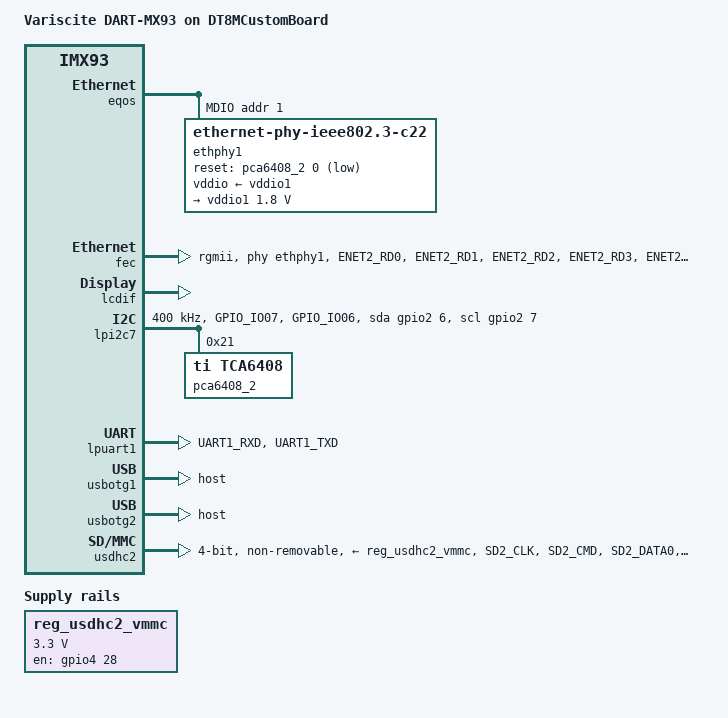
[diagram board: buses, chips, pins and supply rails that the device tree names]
// SPDX-License-Identifier: (GPL-2.0+ OR MIT)
/*
 * Copyright 2021 NXP
 * Copyright 2023-2024 Variscite Ltd.
 */

/dts-v1/;

#include "imx93-var-dart.dtsi"

/{
	model = "Variscite DART-MX93 on DT8MCustomBoard";

	aliases {
		ethernet1 = &fec;
	};

	chosen {
		stdout-path = &lpuart1;
	};

	reg_usdhc2_vmmc: regulator-usdhc2 {
		compatible = "regulator-fixed";
		pinctrl-names = "default";
		pinctrl-0 = <&pinctrl_reg_usdhc2_vmmc>;
		regulator-name = "VSD_3V3";
		regulator-min-microvolt = <3300000>;
		regulator-max-microvolt = <3300000>;
		gpio = <&gpio4 28 GPIO_ACTIVE_HIGH>;
		startup-delay-us = <10000>;
		off-on-delay-us = <12000>;
		enable-active-high;
	};
};

&eqos {
	mdio {
		ethphy1: ethernet-phy@1 {
			compatible = "ethernet-phy-ieee802.3-c22";
			device_type = "ethernet-phy";
			reg = <1>;
			at803x,eee-disabled;
			eee-broken-1000t;
			reset-gpios = <&pca6408_2 0 GPIO_ACTIVE_LOW>;
			reset-assert-us = <10000>;
			reset-deassert-us = <20000>;
			vddio-supply = <&vddio1>;

			vddio1: vddio-regulator {
				regulator-min-microvolt = <1800000>;
				regulator-max-microvolt = <1800000>;
			};
		};
	};
};

&fec {
	pinctrl-names = "default";
	pinctrl-0 = <&pinctrl_fec>;
	phy-mode = "rgmii";
	phy-handle = <&ethphy1>;
	status = "okay";
};

&iomuxc {
	pinctrl_fec: fecgrp {
		fsl,pins = <
			MX93_PAD_ENET2_RD0__ENET1_RGMII_RD0		0x57e
			MX93_PAD_ENET2_RD1__ENET1_RGMII_RD1		0x57e
			MX93_PAD_ENET2_RD2__ENET1_RGMII_RD2		0x57e
			MX93_PAD_ENET2_RD3__ENET1_RGMII_RD3		0x57e
			MX93_PAD_ENET2_RXC__ENET1_RGMII_RXC		0x5fe
			MX93_PAD_ENET2_RX_CTL__ENET1_RGMII_RX_CTL	0x57e
			MX93_PAD_ENET2_TD0__ENET1_RGMII_TD0		0x57e
			MX93_PAD_ENET2_TD1__ENET1_RGMII_TD1		0x57e
			MX93_PAD_ENET2_TD2__ENET1_RGMII_TD2		0x57e
			MX93_PAD_ENET2_TD3__ENET1_RGMII_TD3		0x57e
			MX93_PAD_ENET2_TXC__ENET1_RGMII_TXC		0x5fe
			MX93_PAD_ENET2_TX_CTL__ENET1_RGMII_TX_CTL	0x57e
		>;
	};

	pinctrl_lpi2c7_gpio: lpi2c7grp-gpio {
		fsl,pins = <
			MX93_PAD_GPIO_IO07__GPIO2_IO07			0x31e
			MX93_PAD_GPIO_IO06__GPIO2_IO06			0x31e
		>;
	};

	pinctrl_lpi2c7: lpi2c7grp {
		fsl,pins = <
			MX93_PAD_GPIO_IO07__LPI2C7_SCL			0x40000b9e
			MX93_PAD_GPIO_IO06__LPI2C7_SDA			0x40000b9e
		>;
	};

	pinctrl_reg_usdhc2_vmmc: regusdhc2vmmcgrp {
		fsl,pins = <
			MX93_PAD_CCM_CLKO3__GPIO4_IO28			0x31e
		>;
	};

	pinctrl_uart1: uart1grp {
		fsl,pins = <
			MX93_PAD_UART1_RXD__LPUART1_RX			0x31e
			MX93_PAD_UART1_TXD__LPUART1_TX			0x31e
		>;
	};

	/* need to config the SION for data and cmd pad, refer to ERR052021 */
	pinctrl_usdhc2: usdhc2grp {
		fsl,pins = <
			MX93_PAD_SD2_CLK__USDHC2_CLK		0x1582
			MX93_PAD_SD2_CMD__USDHC2_CMD		0x40001382
			MX93_PAD_SD2_DATA0__USDHC2_DATA0	0x40001382
			MX93_PAD_SD2_DATA1__USDHC2_DATA1	0x40001382
			MX93_PAD_SD2_DATA2__USDHC2_DATA2	0x40001382
			MX93_PAD_SD2_DATA3__USDHC2_DATA3	0x40001382
			MX93_PAD_SD2_VSELECT__USDHC2_VSELECT	0x51e
		>;
	};

	/* need to config the SION for data and cmd pad, refer to ERR052021 */
	pinctrl_usdhc2_100mhz: usdhc2-100mhzgrp {
		fsl,pins = <
			MX93_PAD_SD2_CLK__USDHC2_CLK		0x158e
			MX93_PAD_SD2_CMD__USDHC2_CMD		0x4000138e
			MX93_PAD_SD2_DATA0__USDHC2_DATA0	0x4000138e
			MX93_PAD_SD2_DATA1__USDHC2_DATA1	0x4000138e
			MX93_PAD_SD2_DATA2__USDHC2_DATA2	0x4000138e
			MX93_PAD_SD2_DATA3__USDHC2_DATA3	0x4000138e
			MX93_PAD_SD2_VSELECT__USDHC2_VSELECT	0x51e
		>;
	};

	/* need to config the SION for data and cmd pad, refer to ERR052021 */
	pinctrl_usdhc2_200mhz: usdhc2-200mhzgrp {
		fsl,pins = <
			MX93_PAD_SD2_CLK__USDHC2_CLK		0x15fe
			MX93_PAD_SD2_CMD__USDHC2_CMD		0x400013fe
			MX93_PAD_SD2_DATA0__USDHC2_DATA0	0x400013fe
			MX93_PAD_SD2_DATA1__USDHC2_DATA1	0x400013fe
			MX93_PAD_SD2_DATA2__USDHC2_DATA2	0x400013fe
			MX93_PAD_SD2_DATA3__USDHC2_DATA3	0x400013fe
			MX93_PAD_SD2_VSELECT__USDHC2_VSELECT	0x51e
		>;
	};
};

&lcdif {
	status = "okay";
	assigned-clock-rates = <484000000>, <121000000>, <400000000>, <133333333>;
};

&lpi2c7 {
	#address-cells = <1>;
	#size-cells = <0>;
	clock-frequency = <400000>;
	pinctrl-names = "default", "sleep", "gpio";
	pinctrl-0 = <&pinctrl_lpi2c7>;
	pinctrl-1 = <&pinctrl_lpi2c7_gpio>;
	pinctrl-2 = <&pinctrl_lpi2c7_gpio>;
	scl-gpios = <&gpio2 7 GPIO_ACTIVE_HIGH>;
	sda-gpios = <&gpio2 6 GPIO_ACTIVE_HIGH>;
	status = "okay";

	pca6408_2: gpio@21 {
		compatible = "ti,tca6408";
		reg = <0x21>;
		gpio-controller;
		#gpio-cells = <2>;
	};
};

&lpuart1 { /* console */
	pinctrl-names = "default";
	pinctrl-0 = <&pinctrl_uart1>;
	status = "okay";
};

&usbotg1 {
	dr_mode = "host";
	hnp-disable;
	srp-disable;
	adp-disable;
	disable-over-current;
	status = "okay";
};

&usbotg2 {
	dr_mode = "host";
	hnp-disable;
	srp-disable;
	adp-disable;
	disable-over-current;
	status = "okay";
};

&usdhc2 {
	pinctrl-names = "default", "state_100mhz", "state_200mhz";
	pinctrl-0 = <&pinctrl_usdhc2>;
	pinctrl-1 = <&pinctrl_usdhc2_100mhz>;
	pinctrl-2 = <&pinctrl_usdhc2_200mhz>;
	non-removable;
	vmmc-supply = <&reg_usdhc2_vmmc>;
	bus-width = <4>;
	status = "okay";
	no-sdio;
	no-mmc;
};
